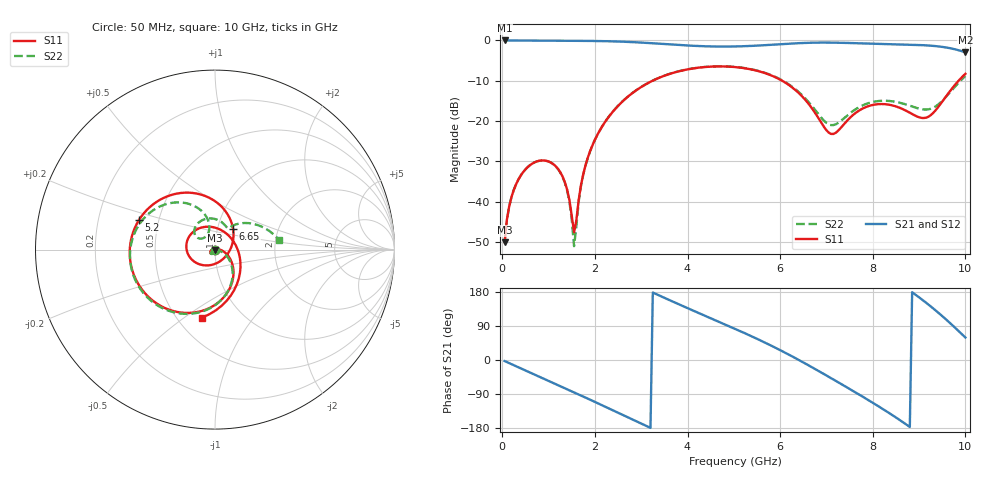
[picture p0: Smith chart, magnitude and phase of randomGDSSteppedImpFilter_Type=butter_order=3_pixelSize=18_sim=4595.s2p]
! freq	dB(S11)	phase(S11)	dB(S12)	phase(S12)
!  dB(S21)	phase(S21)	dB(S22)	phase(S22)
!S-par simulation data
#  GHz  S  DB  R 50
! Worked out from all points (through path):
!   200 points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, 50 MHz to 10 GHz, reference 50 ohm
!   highest |S21| = -0.01 dB at 50 MHz (marker M1); lowest = -3.0 dB at 10 GHz (marker M2)
!   group delay of S21, straight-line fit = 173 ps
!   lowest |S11| = -50.0 dB at 50 MHz (marker M3), VSWR 1.01, Z = 50.1 - j0.3 ohm
!   |S11| at or under -10 dB: start of sweep to 3.245 GHz; 6.043 GHz to 9.852 GHz (3.809 GHz wide, 47.9 % of centre)
!   |S22| runs from -51.0 to -6.4 dB; largest |S21 - S12| = 0
!   S11 on the Smith chart (normalised r, x): 50 MHz: 1.00, -0.01; 5.2 GHz: 0.39, +0.16; 6.65 GHz: 1.19, +0.28; 10 GHz: 0.66, -0.59
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0.05  -50.05 -72.4  -0.01 -2.8  -0.01 -2.8  -50.05 -72.2
0.15  -41.11 -91.5  -0.02 -8.3  -0.02 -8.3  -41.09 -90.9
0.3  -35.61 -104.5  -0.03 -16.5  -0.03 -16.5  -35.60 -103.3
0.9  -29.77 -142.8  -0.06 -49.4  -0.06 -49.4  -29.78 -138.0
1.35  -35.12 -175.6  -0.08 -74.2  -0.08 -74.2  -35.23 -158.2
1.45  -39.62 169.3  -0.09 -79.7  -0.09 -79.7  -39.98 -157.5
1.55  -47.59 105.2  -0.10 -85.3  -0.10 -85.3  -51.03 -100.8
1.75  -33.08 4.2  -0.11 -96.5  -0.11 -96.5  -33.16 -14.3
2.35  -18.19 -39.2  -0.22 -130.6  -0.22 -130.6  -18.18 -42.6
3.4  -9.20 -101.2  -0.82 169.6  -0.82 169.6  -9.19 -100.2
4.25  -6.74 -148.3  -1.40 123.6  -1.40 123.6  -6.73 -144.5
5.05  -6.64 167.6  -1.50 81.0  -1.50 81.0  -6.61 175.4
5.2  -6.84 158.9  -1.45 72.8  -1.45 72.8  -6.81 167.8
6.05  -10.04 103.8  -0.91 22.9  -0.91 22.9  -9.94 124.7
6.65  -16.26 49.2  -0.58 -16.6  -0.58 -16.6  -15.76 103.1
6.7  -17.05 42.9  -0.57 -20.0  -0.57 -20.0  -16.45 102.9
7.1  -23.19 -41.0  -0.55 -47.9  -0.55 -47.9  -21.01 125.8
7.55  -18.73 -133.5  -0.66 -80.0  -0.66 -80.0  -17.70 145.1
8.35  -15.94 147.8  -0.92 -139.7  -0.92 -139.7  -15.00 103.6
9.1  -19.26 44.1  -1.19 156.0  -1.19 156.0  -17.13 61.6
9.6  -13.61 -50.6  -1.78 105.1  -1.78 105.1  -13.75 45.5
10  -8.28 -100.8  -2.96 59.3  -2.96 59.3  -8.81 8.4
